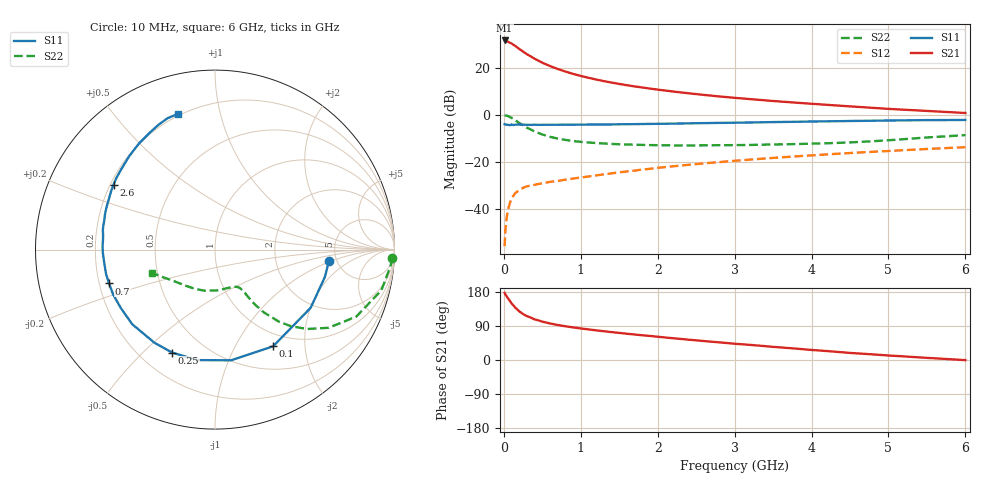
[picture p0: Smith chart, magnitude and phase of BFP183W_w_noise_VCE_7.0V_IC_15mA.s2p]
! Infineon Technologies  Discrete & RF Semiconductors
! BFP183W
! VCE =  7.0 V,  IC =  15 mA
! Common Emitter S-Parameters:  Jan 2017
# GHz  S  MA  R  50
!  f  S11  S21  S12  S22
! GHz  MAG  ANG  MAG  ANG  MAG  ANG  MAG  ANG
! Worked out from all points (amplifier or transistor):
!   77 points, 10 MHz to 6 GHz, reference 50 ohm
!   highest |S21| = 31.8 dB at 10 MHz (marker M1)
!   |S21| within 3 dB of that: start of sweep to 175.7 MHz
!   unconditionally stable (mu >= 1): 1.358 GHz to 3.727 GHz
!   at 130 MHz: K = 0.19, MSG = 32.0 dB, |S12| = -34.2 dB
!   at 2.2 GHz: K = 1.06, MAG = 14.4 dB, |S12| = -21.9 dB
!   at 6 GHz: K = 0.86, MSG = 7.3 dB, |S12| = -13.7 dB
!   lowest NFmin = 1.05 dB at 450 MHz
!   S11 on the Smith chart (normalised r, x): 10 MHz: 4.34, -0.90; 100 MHz: 0.81, -1.44; 250 MHz: 0.33, -0.62; 700 MHz: 0.24, -0.15; 2.6 GHz: 0.21, +0.28; 6 GHz: 0.19, +0.74
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0.01  0.6384 -5.5  38.79 177.1  0.0016 93.2  0.9885 -2.7
0.02  0.6309 -14.0  38.41 173.1  0.0035 88.1  0.9816 -5.6
0.05  0.6239 -31.3  36.92 163.8  0.0088 76.1  0.9544 -13.7
0.1  0.6286 -59.0  33.51 149.4  0.0166 67.4  0.8711 -25.4
0.15  0.6234 -81.7  29.5 137.8  0.0218 56.9  0.7689 -34.5
0.2  0.623 -98.8  25.67 128.5  0.0248 52.3  0.6772 -40.8
0.25  0.6216 -112.5  22.46 121.2  0.0281 47.2  0.5995 -45.3
0.3  0.619 -123.0  19.75 115.7  0.0302 44.6  0.5355 -48.5
0.4  0.6209 -138.0  15.81 107.2  0.0325 43.3  0.4437 -52.1
0.5  0.6176 -148.4  13.01 101.2  0.0351 42.5  0.3845 -53.8
0.6  0.6201 -156.3  11.06 96.4  0.0375 42.6  0.343 -54.7
0.7  0.6199 -162.3  9.565 92.5  0.0393 44.7  0.3145 -55.1
0.9  0.6212 -171.7  7.519 86.0  0.0442 46.8  0.279 -55.9
1.1  0.6256 -178.8  6.212 80.8  0.0489 48.8  0.2594 -56.8
1.3  0.6263 175.1  5.269 75.9  0.0542 50.9  0.2471 -58.3
1.5  0.6342 170.1  4.587 71.5  0.0599 52.1  0.238 -60.6
2.1  0.6514 156.6  3.318 59.4  0.0776 54.6  0.2259 -70.7
2.6  0.6713 147.3  2.679 50.0  0.093 54.3  0.2254 -82.1
3.1  0.6885 139.0  2.251 41.4  0.1088 53.2  0.2288 -94.2
4.1  0.7296 124.5  1.691 25.1  0.1412 49.5  0.2472 -119.4
5.1  0.7657 113.5  1.323 10.7  0.1745 44.5  0.2973 -145.1
6  0.7837 105.4  1.103 -0.4  0.2061 38.8  0.3726 -159.7
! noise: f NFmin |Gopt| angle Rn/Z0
0.45  1.05  0.15  158  0.1
0.9  1.09  0.21  163  0.09
1.9  1.56  0.39  -168  0.08
2.4  1.8  0.44  -161  0.11
